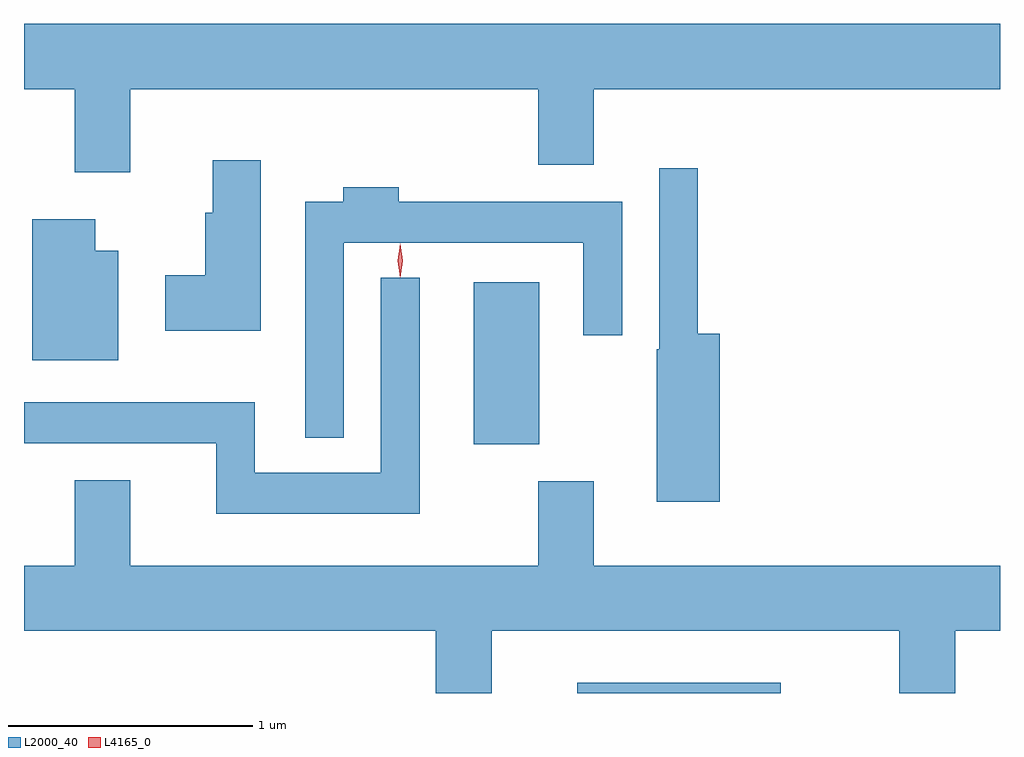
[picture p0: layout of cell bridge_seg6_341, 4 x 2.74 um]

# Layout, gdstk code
import gdstk
lib = gdstk.Library(unit=1e-6, precision=1e-09)
def R(c, l, rs):  # rectangles x0, y0, x1, y1
    for r in rs: c.add(gdstk.rectangle(r[:2], r[2:], *l))
def P(c, l, *ps):  # polygons
    for p in ps: c.add(gdstk.Polygon(p, *l))
L2000_40 = (2000, 40)
L4165_0 = (4165, 0)

bridge_seg6_341 = lib.new_cell('bridge_seg6_341')
R(bridge_seg6_341, L2000_40, [(1306.071,1532.021,1306.904,1532.064), (1305.646,1533.041,1305.914,1533.704)])
P(bridge_seg6_341, L2000_40, [(1304.239,1534.496),(1305.911,1534.496),(1305.911,1534.186),(1306.139,1534.186),(1306.139,1534.496),(1307.803,1534.496),(1307.803,1534.764),(1303.803,1534.764),(1303.803,1534.496),(1304.011,1534.496),(1304.011,1534.156),(1304.239,1534.156)],
  [(1304.774,1534.204),(1304.576,1534.204),(1304.576,1533.989),(1304.546,1533.989),(1304.546,1533.734),(1304.381,1533.734),(1304.381,1533.506),(1304.774,1533.506)],
  [(1306.654,1533.494),(1306.564,1533.494),(1306.564,1534.173),(1306.406,1534.173),(1306.406,1533.43),(1306.396,1533.43),(1306.396,1532.806),(1306.654,1532.806)],
  [(1305.114,1533.866),(1306.096,1533.866),(1306.096,1533.488),(1306.254,1533.488),(1306.254,1534.034),(1305.339,1534.034),(1305.339,1534.094),(1305.111,1534.094),(1305.111,1534.034),(1304.956,1534.034),(1304.956,1533.068),(1305.114,1533.068)],
  [(1304.189,1533.834),(1304.094,1533.834),(1304.094,1533.964),(1303.836,1533.964),(1303.836,1533.386),(1304.189,1533.386)],
  [(1305.424,1533.723),(1305.266,1533.723),(1305.266,1532.924),(1304.749,1532.924),(1304.749,1533.214),(1303.803,1533.214),(1303.803,1533.046),(1304.591,1533.046),(1304.591,1532.756),(1305.424,1532.756)],
  [(1305.491,1532.021),(1305.719,1532.021),(1305.719,1532.276),(1307.391,1532.276),(1307.391,1532.021),(1307.619,1532.021),(1307.619,1532.276),(1307.803,1532.276),(1307.803,1532.544),(1306.139,1532.544),(1306.139,1532.889),(1305.911,1532.889),(1305.911,1532.544),(1304.239,1532.544),(1304.239,1532.894),(1304.011,1532.894),(1304.011,1532.544),(1303.803,1532.544),(1303.803,1532.276),(1305.491,1532.276)])
P(bridge_seg6_341, L4165_0, [(1305.344,1533.724),(1305.335,1533.793),(1305.344,1533.863),(1305.345,1533.863),(1305.345,1533.863),(1305.355,1533.793),(1305.345,1533.724),(1305.345,1533.724)],
  [(1305.344,1533.727),(1305.335,1533.794),(1305.344,1533.86),(1305.345,1533.861),(1305.345,1533.86),(1305.355,1533.794),(1305.345,1533.727),(1305.345,1533.727)])

lib.write_gds('bridge_seg6_341.gds')
